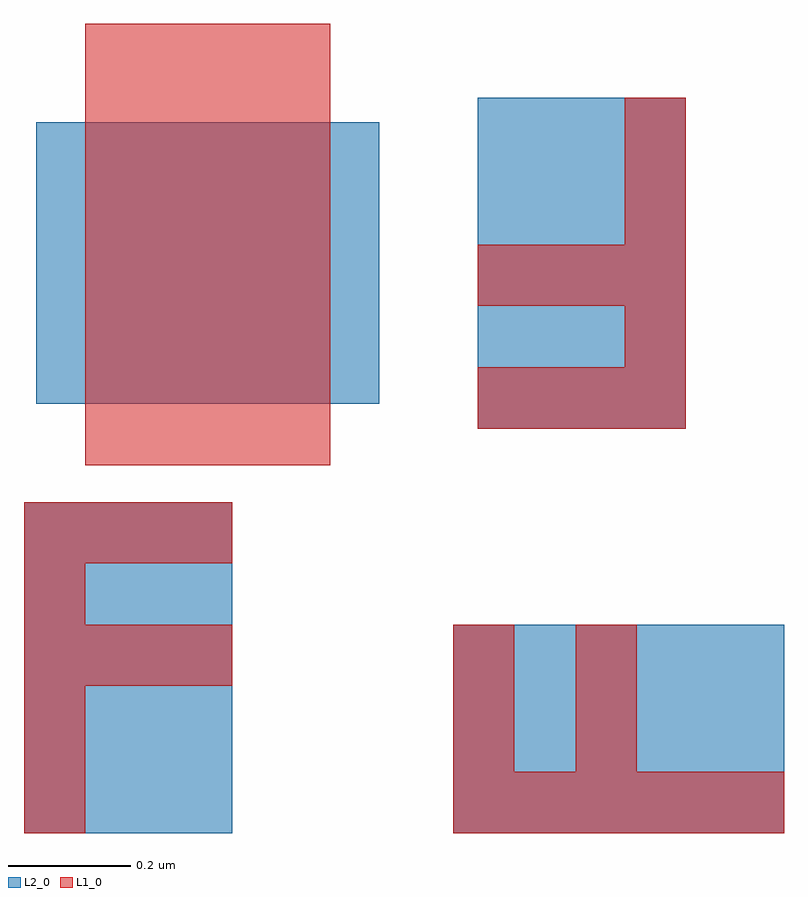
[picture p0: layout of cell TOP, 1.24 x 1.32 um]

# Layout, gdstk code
from math import pi, radians
import gdstk
lib = gdstk.Library(unit=1e-6, precision=1e-09)
def R(c, l, rs):  # rectangles x0, y0, x1, y1
    for r in rs: c.add(gdstk.rectangle(r[:2], r[2:], *l))
def P(c, l, *ps):  # polygons
    for p in ps: c.add(gdstk.Polygon(p, *l))
L1_0 = (1, 0)
L2_0 = (2, 0)

c_a = lib.new_cell('A')
P(c_a, L1_0, [(0.06,0.08),(0.06,0.62),(0.4,0.62),(0.4,0.52),(0.16,0.52),(0.16,0.42),(0.4,0.42),(0.4,0.32),(0.16,0.32),(0.16,0.08)])

c_l1 = lib.new_cell('L1')
R(c_l1, L1_0, [(-0.4,0.92,0,1.64)])
r = gdstk.Reference(c_a, (-0.56,0.24)); r.repetition = gdstk.Repetition(1, 1, v1=(0,0), v2=(0,0)); c_l1.add(r)
r = gdstk.Reference(c_a, (0.82,0.26), rotation=pi/2); r.repetition = gdstk.Repetition(1, 1, v1=(0,0), v2=(0,0)); c_l1.add(r)
r = gdstk.Reference(c_a, (0.64,1.6), rotation=pi); r.repetition = gdstk.Repetition(1, 1, v1=(0,0), v2=(0,0)); c_l1.add(r)

a_1 = lib.new_cell('A$1')
R(a_1, L2_0, [(0.06,0.08,0.4,0.62)])

c_l2 = lib.new_cell('L2')
R(c_l2, L2_0, [(-0.48,1.02,0.08,1.48)])
r = gdstk.Reference(a_1, (-0.56,0.24)); r.repetition = gdstk.Repetition(1, 1, v1=(0,0), v2=(0,0)); c_l2.add(r)
r = gdstk.Reference(a_1, (0.82,0.26), rotation=pi/2); r.repetition = gdstk.Repetition(1, 1, v1=(0,0), v2=(0,0)); c_l2.add(r)
r = gdstk.Reference(a_1, (0.64,1.6), rotation=pi); r.repetition = gdstk.Repetition(1, 1, v1=(0,0), v2=(0,0)); c_l2.add(r)

top = lib.new_cell('TOP')
top.add(gdstk.Reference(c_l1, (0,0)))
top.add(gdstk.Reference(c_l2, (0,0)))

lib.write_gds('TOP.gds')
